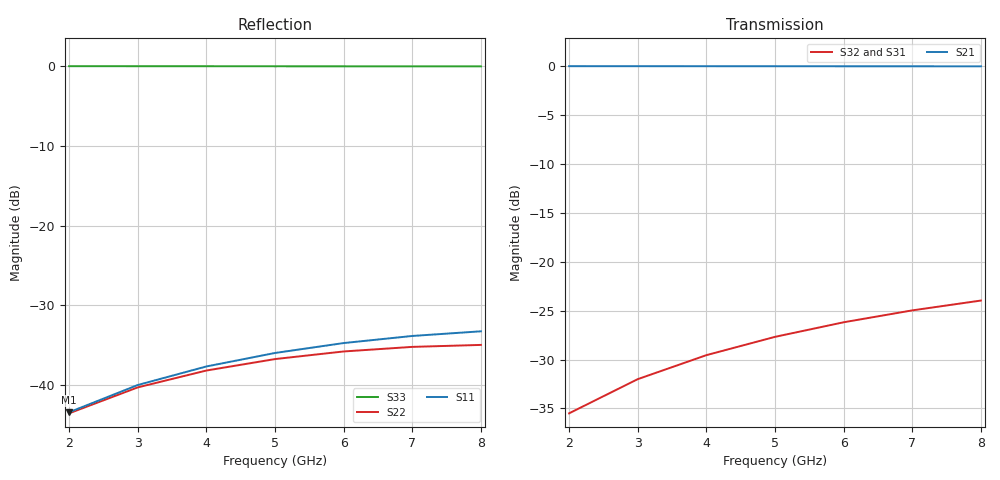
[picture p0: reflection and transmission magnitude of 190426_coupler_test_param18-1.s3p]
! Sonnet Data File
! From: emgraph Version : 16.56
! From Project: 190426_coupler_test
! Data is De-embedded
! Data File Written: 05/06/2019 15:59:44
!< HDATE 04/25/2019 10:48:44
!< MDATE 04/25/2019 10:59:35
!< PARAMS
!< tandelta = 0.0
!< t_aSi = 0.25
!< W = 10.0
!< Lcoupler = 1700.0
!< END PARAMS
# GHZ S MA R 50.0 !  non standard terminations in data
! TERM 50.00000 0.000000 50.00000 0.000000 63.84000 0.000000
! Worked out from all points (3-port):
!   7 points, 2 GHz to 8 GHz, reference 50 ohm
!   strongest paths, dB at 2 GHz, 3 GHz, 5 GHz, 7 GHz, 8 GHz:
!     S21: 0.0, 0.0, 0.0, 0.0, 0.0
!     S32: -35.5, -32.0, -27.7, -25.0, -24.0
!     S31: -35.5, -32.0, -27.8, -25.1, -24.1
!   lowest |S11| = -43.4 dB at 2 GHz (marker M1), VSWR 1.01, Z = 50.3 + j0.627 ohm
!   |S11| at or under -10 dB: start of sweep to end of sweep
2  0.006763 67.4  0.9998 -21.7  0.01676 55.0
   0.9998 -21.7  0.006659 71.5  0.0168 78.8
   0.01676 55.0  0.0168 78.8  0.9997 -24.8
3  0.01002 55.7  0.9996 -32.5  0.02498 37.6
   0.9996 -32.5  0.009682 62.3  0.02512 73.2
   0.02498 37.6  0.02512 73.2  0.9994 -37.2
4  0.0131 43.7  0.9994 -43.4  0.03302 20.1
   0.9994 -43.4  0.01235 53.2  0.03331 67.5
   0.03302 20.1  0.03331 67.5  0.9989 -49.6
5  0.01591 31.2  0.999 -54.2  0.04082 2.6
   0.999 -54.2  0.01457 44.2  0.04132 61.6
   0.04082 2.6  0.04132 61.6  0.9983 -62.1
6  0.01836 18.2  0.9987 -65.1  0.04831 -14.9
   0.9987 -65.1  0.01626 35.4  0.04906 55.8
   0.04831 -14.9  0.04906 55.8  0.9976 -74.6
7  0.02034 4.6  0.9983 -75.9  0.05543 -32.5
   0.9983 -75.9  0.01737 26.7  0.05643 49.8
   0.05543 -32.5  0.05643 49.8  0.9969 -87.1
8  0.02176 -9.8  0.9978 -86.7  0.06212 -50.0
   0.9978 -86.7  0.01787 18.4  0.06335 43.8
   0.06212 -50.0  0.06335 43.8  0.9961 -99.7
